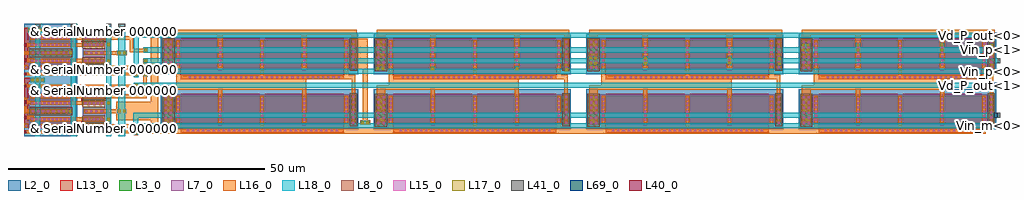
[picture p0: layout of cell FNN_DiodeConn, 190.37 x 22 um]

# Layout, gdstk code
from math import pi, radians
import gdstk
lib = gdstk.Library(unit=1e-6, precision=1e-09)
def R(c, l, rs):  # rectangles x0, y0, x1, y1
    for r in rs: c.add(gdstk.rectangle(r[:2], r[2:], *l))
def A(c, l, x, y, w, h, nx, ny, dx, dy):  # array of equal rectangles
    R(c, l, [(x+i*dx, y+j*dy, x+i*dx+w, y+j*dy+h) for i in range(nx) for j in range(ny)])
L2_0 = (2, 0)
L3_0 = (3, 0)
L7_0 = (7, 0)
L8_0 = (8, 0)
L13_0 = (13, 0)
L15_0 = (15, 0)
L16_0 = (16, 0)
L17_0 = (17, 0)
L18_0 = (18, 0)
L40_0 = (40, 0)
L41_0 = (41, 0)
L69_0 = (69, 0)

pch_cdns_760372828130 = lib.new_cell('pch_CDNS_760372828130')
R(pch_cdns_760372828130, L2_0, [(-2.05,-1.2,2.4,9.2)])
R(pch_cdns_760372828130, L3_0, [(-0.85,0,-0.15,8), (-0.85,0,-0.15,8), (-0.15,0,0.5,8), (0.5,0,1.2,8), (0.5,0,1.2,8)])
R(pch_cdns_760372828130, L7_0, [(-1.1,-0.25,1.45,8.25)])
R(pch_cdns_760372828130, L13_0, [(0,-0.4,0.35,8.4)])
A(pch_cdns_760372828130, L15_0, -0.7, 0.2, 0.4, 0.4, 1, 10, 0, 0.8)
A(pch_cdns_760372828130, L15_0, 0.65, 0.2, 0.4, 0.4, 1, 10, 0, 0.8)
R(pch_cdns_760372828130, L16_0, [(-0.85,0,-0.15,8), (0.5,0,1.2,8)])
pch_cdns_760372828130.add(gdstk.Label('D', (0.85,4), layer=59, texttype=0))
pch_cdns_760372828130.add(gdstk.Label('S', (-0.5,4), layer=59, texttype=0))
pch_cdns_760372828130.add(gdstk.Label('G', (0.175,4), layer=59, texttype=0))
pch_cdns_760372828130.add(gdstk.Label('& SerialNumber 000000', (0,0), layer=16, texttype=0))
pch_cdns_760372828130.add(gdstk.Label('& Distributor VIS', (0,0), layer=16, texttype=0))
pch_cdns_760372828130.add(gdstk.Label('& Metric 1', (0,0), layer=16, texttype=0))
pch_cdns_760372828130.add(gdstk.Label('& Version    \t  1.7A', (0,0), layer=16, texttype=0))
pch_cdns_760372828130.add(gdstk.Label('& PDKName     vis35cv', (0,0), layer=16, texttype=0))
pch_cdns_760372828130.add(gdstk.Label('& Vendor VIS Corp.', (0,0), layer=16, texttype=0))
pch_cdns_760372828130.add(gdstk.Label('& SerialNumber 000000', (0,0), layer=63, texttype=63))
pch_cdns_760372828130.add(gdstk.Label('& Distributor VIS', (0,0), layer=63, texttype=63))
pch_cdns_760372828130.add(gdstk.Label('& Metric 1', (0,0), layer=63, texttype=63))
pch_cdns_760372828130.add(gdstk.Label('& Version    \t  1.7A', (0,0), layer=63, texttype=63))
pch_cdns_760372828130.add(gdstk.Label('& PDKName     vis35cv', (0,0), layer=63, texttype=63))
pch_cdns_760372828130.add(gdstk.Label('& Vendor VIS Corp.', (0,0), layer=63, texttype=63))

nch_cdns_760372828131 = lib.new_cell('nch_CDNS_760372828131')
R(nch_cdns_760372828131, L3_0, [(-0.85,0,-0.15,4), (-0.85,0,-0.15,4), (-0.15,0,0.5,4), (0.5,0,1.2,4), (0.5,0,1.2,4)])
R(nch_cdns_760372828131, L8_0, [(-1.1,-0.25,1.45,4.25)])
R(nch_cdns_760372828131, L13_0, [(0,-0.4,0.35,4.4)])
A(nch_cdns_760372828131, L15_0, -0.7, 0.2, 0.4, 0.4, 1, 5, 0, 0.8)
A(nch_cdns_760372828131, L15_0, 0.65, 0.2, 0.4, 0.4, 1, 5, 0, 0.8)
R(nch_cdns_760372828131, L16_0, [(-0.85,0,-0.15,4), (0.5,0,1.2,4)])
nch_cdns_760372828131.add(gdstk.Label('D', (0.85,2), layer=59, texttype=0))
nch_cdns_760372828131.add(gdstk.Label('S', (-0.5,2), layer=59, texttype=0))
nch_cdns_760372828131.add(gdstk.Label('G', (0.175,2), layer=59, texttype=0))
nch_cdns_760372828131.add(gdstk.Label('& SerialNumber 000000', (0,0), layer=16, texttype=0))
nch_cdns_760372828131.add(gdstk.Label('& Distributor VIS', (0,0), layer=16, texttype=0))
nch_cdns_760372828131.add(gdstk.Label('& Metric 1', (0,0), layer=16, texttype=0))
nch_cdns_760372828131.add(gdstk.Label('& Version    \t  1.7A', (0,0), layer=16, texttype=0))
nch_cdns_760372828131.add(gdstk.Label('& PDKName     vis35cv', (0,0), layer=16, texttype=0))
nch_cdns_760372828131.add(gdstk.Label('& Vendor VIS Corp.', (0,0), layer=16, texttype=0))
nch_cdns_760372828131.add(gdstk.Label('& SerialNumber 000000', (0,0), layer=63, texttype=63))
nch_cdns_760372828131.add(gdstk.Label('& Distributor VIS', (0,0), layer=63, texttype=63))
nch_cdns_760372828131.add(gdstk.Label('& Metric 1', (0,0), layer=63, texttype=63))
nch_cdns_760372828131.add(gdstk.Label('& Version    \t  1.7A', (0,0), layer=63, texttype=63))
nch_cdns_760372828131.add(gdstk.Label('& PDKName     vis35cv', (0,0), layer=63, texttype=63))
nch_cdns_760372828131.add(gdstk.Label('& Vendor VIS Corp.', (0,0), layer=63, texttype=63))

pch_cdns_760372828132 = lib.new_cell('pch_CDNS_760372828132')
R(pch_cdns_760372828132, L2_0, [(-2.05,-1.2,33.85,6.6)])
A(pch_cdns_760372828132, L3_0, -0.85, 0, 0.7, 5.4, 5, 1, 8.2, 0)
A(pch_cdns_760372828132, L3_0, -0.15, 0, 7.5, 5.4, 4, 1, 8.2, 0)
R(pch_cdns_760372828132, L3_0, [(-0.85,0,-0.15,5.4), (31.95,0,32.65,5.4)])
R(pch_cdns_760372828132, L7_0, [(-1.1,-0.25,32.9,5.65)])
A(pch_cdns_760372828132, L13_0, 0, -0.4, 7.2, 6.2, 4, 1, 8.2, 0)
A(pch_cdns_760372828132, L15_0, -0.7, 0.5, 0.4, 0.4, 5, 6, 8.2, 0.8)
A(pch_cdns_760372828132, L16_0, -0.85, 0, 0.7, 5.4, 5, 1, 8.2, 0)
pch_cdns_760372828132.add(gdstk.Label('D', (24.1,2.7), layer=59, texttype=0))
pch_cdns_760372828132.add(gdstk.Label('D', (7.7,2.7), layer=59, texttype=0))
pch_cdns_760372828132.add(gdstk.Label('S', (15.9,2.7), layer=59, texttype=0))
pch_cdns_760372828132.add(gdstk.Label('S', (-0.5,2.7), layer=59, texttype=0))
pch_cdns_760372828132.add(gdstk.Label('S', (32.3,2.7), layer=59, texttype=0))
pch_cdns_760372828132.add(gdstk.Label('G', (28.2,2.7), layer=59, texttype=0))
pch_cdns_760372828132.add(gdstk.Label('G', (20,2.7), layer=59, texttype=0))
pch_cdns_760372828132.add(gdstk.Label('G', (11.8,2.7), layer=59, texttype=0))
pch_cdns_760372828132.add(gdstk.Label('G', (3.6,2.7), layer=59, texttype=0))
pch_cdns_760372828132.add(gdstk.Label('& SerialNumber 000000', (0,0), layer=16, texttype=0))
pch_cdns_760372828132.add(gdstk.Label('& Distributor VIS', (0,0), layer=16, texttype=0))
pch_cdns_760372828132.add(gdstk.Label('& Metric 1', (0,0), layer=16, texttype=0))
pch_cdns_760372828132.add(gdstk.Label('& Version    \t  1.7A', (0,0), layer=16, texttype=0))
pch_cdns_760372828132.add(gdstk.Label('& PDKName     vis35cv', (0,0), layer=16, texttype=0))
pch_cdns_760372828132.add(gdstk.Label('& Vendor VIS Corp.', (0,0), layer=16, texttype=0))
pch_cdns_760372828132.add(gdstk.Label('& SerialNumber 000000', (0,0), layer=63, texttype=63))
pch_cdns_760372828132.add(gdstk.Label('& Distributor VIS', (0,0), layer=63, texttype=63))
pch_cdns_760372828132.add(gdstk.Label('& Metric 1', (0,0), layer=63, texttype=63))
pch_cdns_760372828132.add(gdstk.Label('& Version    \t  1.7A', (0,0), layer=63, texttype=63))
pch_cdns_760372828132.add(gdstk.Label('& PDKName     vis35cv', (0,0), layer=63, texttype=63))
pch_cdns_760372828132.add(gdstk.Label('& Vendor VIS Corp.', (0,0), layer=63, texttype=63))

m2_m1_cdns_760372828130 = lib.new_cell('M2_M1_CDNS_760372828130')
R(m2_m1_cdns_760372828130, L16_0, [(-1.45,-0.45,1.45,0.45)])
A(m2_m1_cdns_760372828130, L17_0, -1.25, -0.25, 0.5, 0.5, 3, 1, 1, 0)
R(m2_m1_cdns_760372828130, L18_0, [(-1.4,-0.4,1.4,0.4)])

m2_m1_cdns_760372828131 = lib.new_cell('M2_M1_CDNS_760372828131')
R(m2_m1_cdns_760372828131, L16_0, [(-0.45,-0.45,0.45,0.45)])
R(m2_m1_cdns_760372828131, L17_0, [(-0.25,-0.25,0.25,0.25)])
R(m2_m1_cdns_760372828131, L18_0, [(-0.4,-0.4,0.4,0.4)])

m1_poly1_cdns_7603728281 = lib.new_cell('M1_POLY1_CDNS_760372828132')
R(m1_poly1_cdns_7603728281, L13_0, [(-0.4,-0.4,0.4,0.4)])
R(m1_poly1_cdns_7603728281, L15_0, [(-0.2,-0.2,0.2,0.2)])
R(m1_poly1_cdns_7603728281, L16_0, [(-0.45,-0.45,0.45,0.45)])

m2_m1_cdns_760372828133 = lib.new_cell('M2_M1_CDNS_760372828133')
R(m2_m1_cdns_760372828133, L16_0, [(-0.95,-0.45,0.95,0.45)])
R(m2_m1_cdns_760372828133, L17_0, [(-0.75,-0.25,-0.25,0.25), (0.25,-0.25,0.75,0.25)])
R(m2_m1_cdns_760372828133, L18_0, [(-0.9,-0.4,0.9,0.4)])

m2_m1_cdns_760372828134 = lib.new_cell('M2_M1_CDNS_760372828134')
R(m2_m1_cdns_760372828134, L16_0, [(-0.95,-0.95,0.95,0.95)])
R(m2_m1_cdns_760372828134, L17_0, [(-0.75,-0.75,-0.25,-0.25), (0.25,-0.75,0.75,-0.25), (-0.75,0.25,-0.25,0.75), (0.25,0.25,0.75,0.75)])
R(m2_m1_cdns_760372828134, L18_0, [(-0.9,-0.9,0.9,0.9)])

m2_m1_cdns_760372828135 = lib.new_cell('M2_M1_CDNS_760372828135')
R(m2_m1_cdns_760372828135, L16_0, [(-0.45,-0.95,0.45,0.95)])
R(m2_m1_cdns_760372828135, L17_0, [(-0.25,-0.75,0.25,-0.25), (-0.25,0.25,0.25,0.75)])
R(m2_m1_cdns_760372828135, L18_0, [(-0.4,-0.9,0.4,0.9)])

c_m1_poly1_cdns_7603728281 = lib.new_cell('M1_POLY1_CDNS_760372828136')
R(c_m1_poly1_cdns_7603728281, L13_0, [(-0.4,-0.4,0.4,0.4)])
R(c_m1_poly1_cdns_7603728281, L15_0, [(-0.2,-0.2,0.2,0.2)])
R(c_m1_poly1_cdns_7603728281, L16_0, [(-0.35,-0.35,0.35,0.35)])

c_m1_poly1_cdns_7603728281_ = lib.new_cell('M1_POLY1_CDNS_760372828137')
R(c_m1_poly1_cdns_7603728281_, L13_0, [(-14.9,-0.4,14.9,0.4)])
A(c_m1_poly1_cdns_7603728281_, L15_0, -14.7, -0.2, 0.4, 0.4, 30, 1, 1, 0)
R(c_m1_poly1_cdns_7603728281_, L16_0, [(-14.85,-0.35,14.85,0.35)])

m1_nactive_cdns_76037282 = lib.new_cell('M1_NACTIVE_CDNS_760372828138')
R(m1_nactive_cdns_76037282, L3_0, [(-3.95,-0.45,3.95,0.45)])
R(m1_nactive_cdns_76037282, L8_0, [(-4.2,-0.7,4.2,0.7)])
A(m1_nactive_cdns_76037282, L15_0, -3.7, -0.2, 0.4, 0.4, 8, 1, 1, 0)
R(m1_nactive_cdns_76037282, L16_0, [(-3.85,-0.35,3.85,0.35)])

m1_pactive_cdns_76037282 = lib.new_cell('M1_PACTIVE_CDNS_760372828139')
R(m1_pactive_cdns_76037282, L3_0, [(-1.95,-0.45,1.95,0.45)])
R(m1_pactive_cdns_76037282, L7_0, [(-2.2,-0.7,2.2,0.7)])
A(m1_pactive_cdns_76037282, L15_0, -1.7, -0.2, 0.4, 0.4, 4, 1, 1, 0)
R(m1_pactive_cdns_76037282, L16_0, [(-1.85,-0.35,1.85,0.35)])

c_m1_nactive_cdns_76037282 = lib.new_cell('M1_NACTIVE_CDNS_7603728281310')
R(c_m1_nactive_cdns_76037282, L3_0, [(-0.95,-2.95,0.95,2.95)])
R(c_m1_nactive_cdns_76037282, L8_0, [(-1.2,-3.2,1.2,3.2)])
A(c_m1_nactive_cdns_76037282, L15_0, -0.7, -2.7, 0.4, 0.4, 1, 6, 0, 1)
A(c_m1_nactive_cdns_76037282, L15_0, 0.3, -2.7, 0.4, 0.4, 1, 6, 0, 1)
R(c_m1_nactive_cdns_76037282, L16_0, [(-0.85,-2.85,0.85,2.85)])

c_m1_nactive_cdns_76037282_ = lib.new_cell('M1_NACTIVE_CDNS_7603728281311')
R(c_m1_nactive_cdns_76037282_, L3_0, [(-0.45,-2.95,0.45,2.95)])
R(c_m1_nactive_cdns_76037282_, L8_0, [(-0.7,-3.2,0.7,3.2)])
A(c_m1_nactive_cdns_76037282_, L15_0, -0.2, -2.7, 0.4, 0.4, 1, 6, 0, 1)
R(c_m1_nactive_cdns_76037282_, L16_0, [(-0.35,-2.85,0.35,2.85)])

fnn_diodeconn = lib.new_cell('FNN_DiodeConn')
A(fnn_diodeconn, L2_0, 26.71, 1.35, 1.8, 7.8, 3, 2, 41.47, 10.8)
A(fnn_diodeconn, L2_0, 64.41, 1.35, 0.77, 7.8, 3, 2, 41.47, 10.8)
R(fnn_diodeconn, L2_0, [(0,0,10.4,0.45), (151.13,1.35,152.93,9.15), (188.83,1.35,189.6,9.15), (0,4.9,10.4,4.93), (0,9.35,10.4,11.85), (151.13,12.15,152.93,19.95), (188.83,12.15,189.6,19.95), (0,20.75,10.4,22)])
R(fnn_diodeconn, L7_0, [(1.05,3.95,9.45,4.08), (11.42,4.07,15.82,4.2), (11.42,5.6,15.82,5.73), (1.05,5.72,9.45,5.88), (1.05,15.35,9.45,15.48), (11.42,15.47,15.82,15.6), (11.42,17,15.82,17.13), (1.05,17.12,9.45,17.25)])
R(fnn_diodeconn, L8_0, [(11.42,3.95,15.82,4.07), (1.05,4.08,9.45,4.2), (1.05,5.6,9.45,5.72), (11.42,5.73,15.82,5.88), (11.42,15.35,15.82,15.47), (1.05,15.48,9.45,15.6), (1.05,17,9.45,17.12), (11.42,17.13,15.82,17.25)])
A(fnn_diodeconn, L13_0, 30.56, 0.74, 31.8, 1.41, 3, 1, 41.47, 0)
A(fnn_diodeconn, L13_0, 30.56, 11.14, 31.8, 1.81, 3, 1, 41.47, 0)
R(fnn_diodeconn, L13_0, [(154.98,0.74,186.78,2.15), (0,2.5,0.8,2.85), (16,2.5,16.9,2.9), (0,2.84,0.8,7.91), (16.1,3.3,16.9,7.33), (16,6.93,16.9,7.33), (0,6.95,0.8,11.44), (0.8,10.64,1.24,11.44), (154.98,11.14,186.78,12.95), (0,13.9,0.8,14.25), (16,13.9,16.9,14.3), (0,14.24,0.8,18.7), (16.1,14.7,16.9,18.7), (16,18.3,16.9,18.7), (0,18.35,0.8,21.16), (0.8,20.36,1.65,21.16)])
A(fnn_diodeconn, L16_0, 27.31, 7.96, 1.7, 1.35, 3, 1, 41.47, 0)
A(fnn_diodeconn, L16_0, 63.91, 7.98, 0.7, 3.65, 3, 1, 41.47, 0)
A(fnn_diodeconn, L16_0, 29.66, 9.93, 25.4, 1.29, 3, 1, 41.47, 0)
A(fnn_diodeconn, L16_0, 63.26, 11.17, 1.35, 0.85, 3, 1, 41.47, 0)
A(fnn_diodeconn, L16_0, 27.31, 18.76, 1.7, 1.07, 3, 1, 41.47, 0)
R(fnn_diodeconn, L16_0, [(24.68,0.49,26.2,20.43), (26.2,0.49,187.63,1.78), (0,0.64,0.91,1.2), (73.01,0.74,104.68,1.64), (17.96,3.16,24.99,6.8), (0,4.55,1.4,5.25), (14.01,4.55,18.32,5.25), (0,4.75,0.65,5.88), (0,6.37,0.65,7.5), (151.73,7.96,153.43,9.31), (188.33,7.98,189.03,11.63), (0,9.59,0.65,10.3), (154.08,9.93,179.48,11.22), (187.68,11.17,189.03,12.02), (64.91,13.14,66.05,19.01), (0,15.95,1.4,16.65), (14.58,15.95,18.22,16.65), (151.73,18.76,153.43,19.83)])
R(fnn_diodeconn, L40_0, [(0,0.64,0.42,1.14), (0,3.3,0.42,4), (0,6.33,0.42,7.03), (0,9.59,0.42,10.09), (0,11.9,0.42,12.4), (0,14.5,0.42,15.2), (0,17.5,0.42,18.2)])
A(fnn_diodeconn, L41_0, 2.16, 21.33, 1, 0.67, 3, 1, 6.92, 0)
R(fnn_diodeconn, L41_0, [(189.93,1.57,190.37,2.57), (189.93,3.62,190.37,4.62), (189.93,9.51,190.37,10.51), (189.93,12.23,190.37,13.23), (189.93,14.23,190.37,15.23), (189.93,16.36,190.37,17.36), (189.95,19.21,190.37,20.21), (18.35,21.33,19.75,22)])
R(fnn_diodeconn, L69_0, [(189.15,3.62,189.88,4.62), (189.15,9.51,189.88,10.51), (189.15,19.21,189.88,20.21)])
fnn_diodeconn.add(gdstk.FlexPath([(188.83,20.33),(188.83,13.14)], 1, ends=(0.5, 0), simple_path=True, layer=16, datatype=0))  # L16_0
fnn_diodeconn.add(gdstk.FlexPath([(151.73,20.33),(188.83,20.33)], 1, ends=(0, 0.5), simple_path=True, layer=16, datatype=0))  # L16_0
fnn_diodeconn.add(gdstk.FlexPath([(187.28,13.35),(187.28,11.57)], 0.8, ends=(0, 0.4), simple_path=True, layer=16, datatype=0))  # L16_0
fnn_diodeconn.add(gdstk.FlexPath([(187.28,11.57),(186.14,11.57)], 0.8, ends=(0.4, 0), simple_path=True, layer=16, datatype=0))  # L16_0
fnn_diodeconn.add(gdstk.FlexPath([(187.28,3.51),(187.28,0.74)], 0.7, ends="flush", simple_path=True, layer=16, datatype=0))  # L16_0
fnn_diodeconn.add(gdstk.FlexPath([(179.08,13.35),(179.08,20.23)], 1, ends=(0, 0.5), simple_path=True, layer=16, datatype=0))  # L16_0
fnn_diodeconn.add(gdstk.FlexPath([(179.08,9.53),(179.08,7.95)], 0.8, ends=(0.4, 0), simple_path=True, layer=16, datatype=0))  # L16_0
fnn_diodeconn.add(gdstk.FlexPath([(179.08,9.53),(151.73,9.53)], 0.8, ends=(0.4, 0), simple_path=True, layer=16, datatype=0))  # L16_0
fnn_diodeconn.add(gdstk.FlexPath([(170.88,13.35),(170.88,11.57)], 0.7, ends="flush", simple_path=True, layer=16, datatype=0))  # L16_0
fnn_diodeconn.add(gdstk.FlexPath([(170.88,3.51),(170.88,0.74)], 0.7, ends="flush", simple_path=True, layer=16, datatype=0))  # L16_0
fnn_diodeconn.add(gdstk.FlexPath([(162.68,13.35),(162.68,20.23)], 1, ends=(0, 0.5), simple_path=True, layer=16, datatype=0))  # L16_0
fnn_diodeconn.add(gdstk.FlexPath([(162.68,7.95),(162.68,9.53)], 0.8, ends=(0, 0.4), simple_path=True, layer=16, datatype=0))  # L16_0
fnn_diodeconn.add(gdstk.FlexPath([(154.48,11.57),(156.44,11.57)], 0.8, ends=(0.4, 0), simple_path=True, layer=16, datatype=0))  # L16_0
fnn_diodeconn.add(gdstk.FlexPath([(154.48,13.35),(154.48,11.57)], 0.8, ends=(0, 0.4), simple_path=True, layer=16, datatype=0))  # L16_0
fnn_diodeconn.add(gdstk.FlexPath([(154.48,3.51),(154.48,0.74)], 0.7, ends="flush", simple_path=True, layer=16, datatype=0))  # L16_0
fnn_diodeconn.add(gdstk.FlexPath([(147.35,20.33),(147.35,13.14)], 1, ends=(0.5, 0), simple_path=True, layer=16, datatype=0))  # L16_0
fnn_diodeconn.add(gdstk.FlexPath([(110.25,20.33),(147.35,20.33)], 1, ends=(0, 0.5), simple_path=True, layer=16, datatype=0))  # L16_0
fnn_diodeconn.add(gdstk.FlexPath([(145.8,13.35),(145.8,11.57)], 0.8, ends=(0, 0.4), simple_path=True, layer=16, datatype=0))  # L16_0
fnn_diodeconn.add(gdstk.FlexPath([(145.8,11.57),(144.66,11.57)], 0.8, ends=(0.4, 0), simple_path=True, layer=16, datatype=0))  # L16_0
fnn_diodeconn.add(gdstk.FlexPath([(145.8,3.51),(145.8,0.74)], 0.7, ends="flush", simple_path=True, layer=16, datatype=0))  # L16_0
fnn_diodeconn.add(gdstk.FlexPath([(137.6,13.35),(137.6,20.23)], 1, ends=(0, 0.5), simple_path=True, layer=16, datatype=0))  # L16_0
fnn_diodeconn.add(gdstk.FlexPath([(137.6,9.53),(137.6,7.95)], 0.8, ends=(0.4, 0), simple_path=True, layer=16, datatype=0))  # L16_0
fnn_diodeconn.add(gdstk.FlexPath([(137.6,9.53),(110.25,9.53)], 0.8, ends=(0.4, 0), simple_path=True, layer=16, datatype=0))  # L16_0
fnn_diodeconn.add(gdstk.FlexPath([(129.4,13.35),(129.4,11.57)], 0.7, ends="flush", simple_path=True, layer=16, datatype=0))  # L16_0
fnn_diodeconn.add(gdstk.FlexPath([(129.4,3.51),(129.4,0.74)], 0.7, ends="flush", simple_path=True, layer=16, datatype=0))  # L16_0
fnn_diodeconn.add(gdstk.FlexPath([(121.2,13.35),(121.2,20.23)], 1, ends=(0, 0.5), simple_path=True, layer=16, datatype=0))  # L16_0
fnn_diodeconn.add(gdstk.FlexPath([(121.2,7.95),(121.2,9.53)], 0.8, ends=(0, 0.4), simple_path=True, layer=16, datatype=0))  # L16_0
fnn_diodeconn.add(gdstk.FlexPath([(113,11.57),(114.96,11.57)], 0.8, ends=(0.4, 0), simple_path=True, layer=16, datatype=0))  # L16_0
fnn_diodeconn.add(gdstk.FlexPath([(113,13.35),(113,11.57)], 0.8, ends=(0, 0.4), simple_path=True, layer=16, datatype=0))  # L16_0
fnn_diodeconn.add(gdstk.FlexPath([(113,3.51),(113,0.74)], 0.7, ends="flush", simple_path=True, layer=16, datatype=0))  # L16_0
fnn_diodeconn.add(gdstk.FlexPath([(105.88,20.33),(105.88,13.14)], 1, ends=(0.5, 0), simple_path=True, layer=16, datatype=0))  # L16_0
fnn_diodeconn.add(gdstk.FlexPath([(68.78,20.33),(105.88,20.33)], 1, ends=(0, 0.5), simple_path=True, layer=16, datatype=0))  # L16_0
fnn_diodeconn.add(gdstk.FlexPath([(104.33,13.35),(104.33,11.57)], 0.8, ends=(0, 0.4), simple_path=True, layer=16, datatype=0))  # L16_0
fnn_diodeconn.add(gdstk.FlexPath([(104.33,11.57),(103.19,11.57)], 0.8, ends=(0.4, 0), simple_path=True, layer=16, datatype=0))  # L16_0
fnn_diodeconn.add(gdstk.FlexPath([(104.33,3.51),(104.33,0.74)], 0.7, ends="flush", simple_path=True, layer=16, datatype=0))  # L16_0
fnn_diodeconn.add(gdstk.FlexPath([(96.13,13.35),(96.13,20.23)], 1, ends=(0, 0.5), simple_path=True, layer=16, datatype=0))  # L16_0
fnn_diodeconn.add(gdstk.FlexPath([(96.13,9.53),(96.13,7.95)], 0.8, ends=(0.4, 0), simple_path=True, layer=16, datatype=0))  # L16_0
fnn_diodeconn.add(gdstk.FlexPath([(96.13,9.53),(68.78,9.53)], 0.8, ends=(0.4, 0), simple_path=True, layer=16, datatype=0))  # L16_0
fnn_diodeconn.add(gdstk.FlexPath([(87.93,13.35),(87.93,11.57)], 0.7, ends="flush", simple_path=True, layer=16, datatype=0))  # L16_0
fnn_diodeconn.add(gdstk.FlexPath([(87.93,3.51),(87.93,0.74)], 0.7, ends="flush", simple_path=True, layer=16, datatype=0))  # L16_0
fnn_diodeconn.add(gdstk.FlexPath([(79.73,13.35),(79.73,20.23)], 1, ends=(0, 0.5), simple_path=True, layer=16, datatype=0))  # L16_0
fnn_diodeconn.add(gdstk.FlexPath([(79.73,7.95),(79.73,9.53)], 0.8, ends=(0, 0.4), simple_path=True, layer=16, datatype=0))  # L16_0
fnn_diodeconn.add(gdstk.FlexPath([(71.53,11.57),(73.49,11.57)], 0.8, ends=(0.4, 0), simple_path=True, layer=16, datatype=0))  # L16_0
fnn_diodeconn.add(gdstk.FlexPath([(71.53,13.35),(71.53,11.57)], 0.8, ends=(0, 0.4), simple_path=True, layer=16, datatype=0))  # L16_0
fnn_diodeconn.add(gdstk.FlexPath([(71.53,3.51),(71.53,0.74)], 0.7, ends="flush", simple_path=True, layer=16, datatype=0))  # L16_0
fnn_diodeconn.add(gdstk.FlexPath([(66.55,19.01),(66.55,2.68)], 1, ends="flush", simple_path=True, layer=16, datatype=0))  # L16_0
fnn_diodeconn.add(gdstk.FlexPath([(64.41,20.33),(64.41,13.14)], 1, ends=(0.5, 0), simple_path=True, layer=16, datatype=0))  # L16_0
fnn_diodeconn.add(gdstk.FlexPath([(27.31,20.33),(64.41,20.33)], 1, ends=(0, 0.5), simple_path=True, layer=16, datatype=0))  # L16_0
fnn_diodeconn.add(gdstk.FlexPath([(62.86,13.35),(62.86,11.57)], 0.8, ends=(0, 0.4), simple_path=True, layer=16, datatype=0))  # L16_0
fnn_diodeconn.add(gdstk.FlexPath([(62.86,11.57),(61.72,11.57)], 0.8, ends=(0.4, 0), simple_path=True, layer=16, datatype=0))  # L16_0
fnn_diodeconn.add(gdstk.FlexPath([(62.86,3.51),(62.86,0.74)], 0.7, ends="flush", simple_path=True, layer=16, datatype=0))  # L16_0
fnn_diodeconn.add(gdstk.FlexPath([(54.66,13.35),(54.66,20.23)], 1, ends=(0, 0.5), simple_path=True, layer=16, datatype=0))  # L16_0
fnn_diodeconn.add(gdstk.FlexPath([(54.66,9.53),(54.66,7.95)], 0.8, ends=(0.4, 0), simple_path=True, layer=16, datatype=0))  # L16_0
fnn_diodeconn.add(gdstk.FlexPath([(54.66,9.53),(27.31,9.53)], 0.8, ends=(0.4, 0), simple_path=True, layer=16, datatype=0))  # L16_0
fnn_diodeconn.add(gdstk.FlexPath([(46.46,13.35),(46.46,11.57)], 0.7, ends="flush", simple_path=True, layer=16, datatype=0))  # L16_0
fnn_diodeconn.add(gdstk.FlexPath([(46.46,3.51),(46.46,0.74)], 0.7, ends="flush", simple_path=True, layer=16, datatype=0))  # L16_0
fnn_diodeconn.add(gdstk.FlexPath([(38.26,13.35),(38.26,20.23)], 1, ends=(0, 0.5), simple_path=True, layer=16, datatype=0))  # L16_0
fnn_diodeconn.add(gdstk.FlexPath([(38.26,7.95),(38.26,9.53)], 0.8, ends=(0, 0.4), simple_path=True, layer=16, datatype=0))  # L16_0
fnn_diodeconn.add(gdstk.FlexPath([(30.06,11.57),(32.02,11.57)], 0.8, ends=(0.4, 0), simple_path=True, layer=16, datatype=0))  # L16_0
fnn_diodeconn.add(gdstk.FlexPath([(30.06,13.35),(30.06,11.57)], 0.8, ends=(0, 0.4), simple_path=True, layer=16, datatype=0))  # L16_0
fnn_diodeconn.add(gdstk.FlexPath([(30.06,3.51),(30.06,0.74)], 0.7, ends="flush", simple_path=True, layer=16, datatype=0))  # L16_0
fnn_diodeconn.add(gdstk.FlexPath([(23.6,7.83),(23.6,12.55)], 0.7, ends=(0.35, 0), simple_path=True, layer=16, datatype=0))  # L16_0
fnn_diodeconn.add(gdstk.FlexPath([(15.59,7.83),(23.6,7.83)], 0.7, ends=(0, 0.35), simple_path=True, layer=16, datatype=0))  # L16_0
fnn_diodeconn.add(gdstk.FlexPath([(23.58,13.4),(23.58,15.15)], 0.7, ends=(0.35, 0), simple_path=True, layer=16, datatype=0))  # L16_0
fnn_diodeconn.add(gdstk.FlexPath([(15.59,13.4),(23.58,13.4)], 0.7, ends=(0, 0.35), simple_path=True, layer=16, datatype=0))  # L16_0
fnn_diodeconn.add(gdstk.FlexPath([(15.59,2),(23.48,2)], 0.7, ends="flush", simple_path=True, layer=16, datatype=0))  # L16_0
fnn_diodeconn.add(gdstk.FlexPath([(0,0.89),(21.68,0.89)], 0.5, ends="flush", simple_path=True, layer=16, datatype=0))  # L16_0
fnn_diodeconn.add(gdstk.FlexPath([(0,12.15),(21.52,12.15)], 0.5, ends="flush", simple_path=True, layer=16, datatype=0))  # L16_0
fnn_diodeconn.add(gdstk.FlexPath([(0,9.84),(21.44,9.84)], 0.5, ends="flush", simple_path=True, layer=16, datatype=0))  # L16_0
fnn_diodeconn.add(gdstk.FlexPath([(20.99,16.76),(23.75,16.76)], 0.7, ends=(0.35, 0), simple_path=True, layer=16, datatype=0))  # L16_0
fnn_diodeconn.add(gdstk.FlexPath([(20.99,19.2),(20.99,16.76)], 0.7, ends="extended", simple_path=True, layer=16, datatype=0))  # L16_0
fnn_diodeconn.add(gdstk.FlexPath([(15.59,19.2),(20.99,19.2)], 0.7, ends=(0, 0.35), simple_path=True, layer=16, datatype=0))  # L16_0
fnn_diodeconn.add(gdstk.FlexPath([(11.6,2),(9.2,2)], 0.7, ends="flush", simple_path=True, layer=16, datatype=0))  # L16_0
fnn_diodeconn.add(gdstk.FlexPath([(11.6,3.35),(9.2,3.35)], 0.7, ends="flush", simple_path=True, layer=16, datatype=0))  # L16_0
fnn_diodeconn.add(gdstk.FlexPath([(11.6,6.48),(9.2,6.48)], 0.7, ends="flush", simple_path=True, layer=16, datatype=0))  # L16_0
fnn_diodeconn.add(gdstk.FlexPath([(11.6,7.83),(9.2,7.83)], 0.7, ends="flush", simple_path=True, layer=16, datatype=0))  # L16_0
fnn_diodeconn.add(gdstk.FlexPath([(11.6,13.4),(9.2,13.4)], 0.7, ends="flush", simple_path=True, layer=16, datatype=0))  # L16_0
fnn_diodeconn.add(gdstk.FlexPath([(11.6,14.75),(9.2,14.75)], 0.7, ends="flush", simple_path=True, layer=16, datatype=0))  # L16_0
fnn_diodeconn.add(gdstk.FlexPath([(11.6,17.85),(9.2,17.85)], 0.7, ends="flush", simple_path=True, layer=16, datatype=0))  # L16_0
fnn_diodeconn.add(gdstk.FlexPath([(11.6,19.2),(9.2,19.2)], 0.7, ends="flush", simple_path=True, layer=16, datatype=0))  # L16_0
fnn_diodeconn.add(gdstk.FlexPath([(1.89,3.65),(0,3.65)], 0.7, ends="flush", simple_path=True, layer=16, datatype=0))  # L16_0
fnn_diodeconn.add(gdstk.FlexPath([(1.84,14.85),(0,14.85)], 0.7, ends="flush", simple_path=True, layer=16, datatype=0))  # L16_0
fnn_diodeconn.add(gdstk.FlexPath([(1.21,6.63),(0,6.63)], 0.6, ends="flush", simple_path=True, layer=16, datatype=0))  # L16_0
fnn_diodeconn.add(gdstk.FlexPath([(1.2,17.85),(0,17.85)], 0.7, ends="flush", simple_path=True, layer=16, datatype=0))  # L16_0
fnn_diodeconn.add(gdstk.FlexPath([(190.37,14.73),(23.54,14.73)], 1, ends="flush", simple_path=True, layer=18, datatype=0))  # L18_0
fnn_diodeconn.add(gdstk.FlexPath([(190.37,16.86),(23.33,16.86)], 1, ends="flush", simple_path=True, layer=18, datatype=0))  # L18_0
fnn_diodeconn.add(gdstk.FlexPath([(190.37,12.73),(23.33,12.73)], 1, ends="flush", simple_path=True, layer=18, datatype=0))  # L18_0
fnn_diodeconn.add(gdstk.FlexPath([(190.37,2.07),(23.19,2.07)], 1, ends="flush", simple_path=True, layer=18, datatype=0))  # L18_0
fnn_diodeconn.add(gdstk.FlexPath([(190.37,10.01),(21.41,10.01)], 1, ends="flush", simple_path=True, layer=18, datatype=0))  # L18_0
fnn_diodeconn.add(gdstk.FlexPath([(190.16,14.73),(23.33,14.73)], 1, ends="flush", simple_path=True, layer=18, datatype=0))  # L18_0
fnn_diodeconn.add(gdstk.FlexPath([(190.37,19.71),(21.91,19.71)], 1, ends=(0, 0.5), simple_path=True, layer=18, datatype=0))  # L18_0
fnn_diodeconn.add(gdstk.FlexPath([(21.91,19.71),(21.91,11.55)], 1, ends=(0.5, 0), simple_path=True, layer=18, datatype=0))  # L18_0
fnn_diodeconn.add(gdstk.FlexPath([(190.37,4.12),(21.8,4.12)], 1, ends=(0, 0.5), simple_path=True, layer=18, datatype=0))  # L18_0
fnn_diodeconn.add(gdstk.FlexPath([(21.8,4.12),(21.8,0.3)], 1, ends=(0.5, 0), simple_path=True, layer=18, datatype=0))  # L18_0
fnn_diodeconn.add(gdstk.FlexPath([(19.05,0),(19.05,22)], 1.4, ends="flush", simple_path=True, layer=18, datatype=0))  # L18_0
fnn_diodeconn.add(gdstk.FlexPath([(16.5,0),(16.5,22)], 1, ends="flush", simple_path=True, layer=18, datatype=0))  # L18_0
fnn_diodeconn.add(gdstk.FlexPath([(9.58,0),(9.58,22)], 1, ends="flush", simple_path=True, layer=18, datatype=0))  # L18_0
fnn_diodeconn.add(gdstk.FlexPath([(2.66,0),(2.66,22)], 1, ends="flush", simple_path=True, layer=18, datatype=0))  # L18_0
fnn_diodeconn.add(gdstk.Reference(pch_cdns_760372828130, (1.2,7.33), rotation=3*pi/2))
fnn_diodeconn.add(gdstk.Reference(pch_cdns_760372828130, (1.2,2.85), rotation=3*pi/2))
fnn_diodeconn.add(gdstk.Reference(pch_cdns_760372828130, (1.2,14.25), rotation=3*pi/2))
fnn_diodeconn.add(gdstk.Reference(pch_cdns_760372828130, (1.2,18.7), rotation=3*pi/2))
fnn_diodeconn.add(gdstk.Reference(nch_cdns_760372828131, (11.6,2.85), rotation=3*pi/2))
fnn_diodeconn.add(gdstk.Reference(nch_cdns_760372828131, (11.6,7.33), rotation=3*pi/2))
fnn_diodeconn.add(gdstk.Reference(nch_cdns_760372828131, (11.6,14.25), rotation=3*pi/2))
fnn_diodeconn.add(gdstk.Reference(nch_cdns_760372828131, (11.6,18.7), rotation=3*pi/2))
r = gdstk.Reference(pch_cdns_760372828132, (154.98,13.35)); r.repetition = gdstk.Repetition(1, 1, v1=(4.45,0), v2=(0,4.4)); fnn_diodeconn.add(r)
r = gdstk.Reference(pch_cdns_760372828132, (154.98,2.55)); r.repetition = gdstk.Repetition(1, 1, v1=(4.45,0), v2=(0,4.4)); fnn_diodeconn.add(r)
r = gdstk.Reference(pch_cdns_760372828132, (113.5,13.35)); r.repetition = gdstk.Repetition(1, 1, v1=(4.45,0), v2=(0,4.4)); fnn_diodeconn.add(r)
r = gdstk.Reference(pch_cdns_760372828132, (113.5,2.55)); r.repetition = gdstk.Repetition(1, 1, v1=(4.45,0), v2=(0,4.4)); fnn_diodeconn.add(r)
r = gdstk.Reference(pch_cdns_760372828132, (72.03,13.35)); r.repetition = gdstk.Repetition(1, 1, v1=(4.45,0), v2=(0,4.4)); fnn_diodeconn.add(r)
r = gdstk.Reference(pch_cdns_760372828132, (72.03,2.55)); r.repetition = gdstk.Repetition(1, 1, v1=(4.45,0), v2=(0,4.4)); fnn_diodeconn.add(r)
r = gdstk.Reference(pch_cdns_760372828132, (30.56,13.35)); r.repetition = gdstk.Repetition(1, 1, v1=(4.45,0), v2=(0,4.4)); fnn_diodeconn.add(r)
r = gdstk.Reference(pch_cdns_760372828132, (30.56,2.55)); r.repetition = gdstk.Repetition(1, 1, v1=(4.45,0), v2=(0,4.4)); fnn_diodeconn.add(r)
fnn_diodeconn.add(gdstk.Reference(m2_m1_cdns_760372828130, (2.64,11)))
fnn_diodeconn.add(gdstk.Reference(m2_m1_cdns_760372828130, (2.19,20.75)))
fnn_diodeconn.add(gdstk.Reference(m2_m1_cdns_760372828131, (105.87,13.05)))
fnn_diodeconn.add(gdstk.Reference(m2_m1_cdns_760372828131, (96.15,13.25)))
fnn_diodeconn.add(gdstk.Reference(m2_m1_cdns_760372828131, (79.71,13.22)))
fnn_diodeconn.add(gdstk.Reference(m2_m1_cdns_760372828131, (23.73,16.84)))
fnn_diodeconn.add(gdstk.Reference(m2_m1_cdns_760372828131, (23.73,14.7)))
fnn_diodeconn.add(gdstk.Reference(m2_m1_cdns_760372828131, (23.73,12.1)))
fnn_diodeconn.add(gdstk.Reference(m2_m1_cdns_760372828131, (23.59,1.97)))
fnn_diodeconn.add(gdstk.Reference(m2_m1_cdns_760372828131, (21.81,11.95)))
fnn_diodeconn.add(gdstk.Reference(m2_m1_cdns_760372828131, (21.81,9.91)))
fnn_diodeconn.add(gdstk.Reference(m2_m1_cdns_760372828131, (21.81,0.7)))
fnn_diodeconn.add(gdstk.Reference(m2_m1_cdns_760372828131, (16.5,3.3)))
fnn_diodeconn.add(gdstk.Reference(m2_m1_cdns_760372828131, (16.5,17.9), x_reflection=True))
fnn_diodeconn.add(gdstk.Reference(m2_m1_cdns_760372828131, (16.5,6.53), x_reflection=True))
fnn_diodeconn.add(gdstk.Reference(m2_m1_cdns_760372828131, (16.5,14.7)))
fnn_diodeconn.add(gdstk.Reference(m2_m1_cdns_760372828131, (9.06,16.32)))
fnn_diodeconn.add(gdstk.Reference(m2_m1_cdns_760372828131, (9.01,4.9)))
fnn_diodeconn.add(gdstk.Reference(m1_poly1_cdns_7603728281, (16.5,3.3)))
fnn_diodeconn.add(gdstk.Reference(m1_poly1_cdns_7603728281, (16.5,17.9), x_reflection=True))
fnn_diodeconn.add(gdstk.Reference(m1_poly1_cdns_7603728281, (16.5,6.53), x_reflection=True))
fnn_diodeconn.add(gdstk.Reference(m1_poly1_cdns_7603728281, (16.5,14.7)))
fnn_diodeconn.add(gdstk.Reference(m2_m1_cdns_760372828133, (69.53,13.22)))
fnn_diodeconn.add(gdstk.Reference(m2_m1_cdns_760372828133, (66.55,2.68)))
fnn_diodeconn.add(gdstk.Reference(m2_m1_cdns_760372828133, (19.08,4.93), rotation=pi, x_reflection=True))
fnn_diodeconn.add(gdstk.Reference(m2_m1_cdns_760372828133, (19.08,16.28), rotation=pi, x_reflection=True))
fnn_diodeconn.add(gdstk.Reference(m2_m1_cdns_760372828134, (152.45,17.35)))
fnn_diodeconn.add(gdstk.Reference(m2_m1_cdns_760372828134, (111,14.76)))
fnn_diodeconn.add(gdstk.Reference(m2_m1_cdns_760372828135, (188.83,17.25)))
fnn_diodeconn.add(gdstk.Reference(m2_m1_cdns_760372828135, (179.08,17.38)))
fnn_diodeconn.add(gdstk.Reference(m2_m1_cdns_760372828135, (162.68,17.35)))
fnn_diodeconn.add(gdstk.Reference(m2_m1_cdns_760372828135, (147.37,14.66)))
fnn_diodeconn.add(gdstk.Reference(m2_m1_cdns_760372828135, (137.62,14.79)))
fnn_diodeconn.add(gdstk.Reference(m2_m1_cdns_760372828135, (121.22,14.76)))
fnn_diodeconn.add(gdstk.Reference(c_m1_poly1_cdns_7603728281, (2.05,20.76)))
fnn_diodeconn.add(gdstk.Reference(c_m1_poly1_cdns_7603728281, (1.54,11.04)))
fnn_diodeconn.add(gdstk.Reference(c_m1_poly1_cdns_7603728281, (0.4,2.1)))
fnn_diodeconn.add(gdstk.Reference(c_m1_poly1_cdns_7603728281, (0.4,13.5)))
fnn_diodeconn.add(gdstk.Reference(c_m1_poly1_cdns_7603728281_, (171.29,11.57)))
fnn_diodeconn.add(gdstk.Reference(c_m1_poly1_cdns_7603728281_, (170.91,1.19)))
fnn_diodeconn.add(gdstk.Reference(c_m1_poly1_cdns_7603728281_, (129.81,11.57)))
fnn_diodeconn.add(gdstk.Reference(c_m1_poly1_cdns_7603728281_, (129.43,1.19)))
fnn_diodeconn.add(gdstk.Reference(c_m1_poly1_cdns_7603728281_, (88.34,11.57)))
fnn_diodeconn.add(gdstk.Reference(c_m1_poly1_cdns_7603728281_, (87.96,1.19)))
fnn_diodeconn.add(gdstk.Reference(c_m1_poly1_cdns_7603728281_, (46.87,11.57)))
fnn_diodeconn.add(gdstk.Reference(c_m1_poly1_cdns_7603728281_, (46.49,1.19)))
fnn_diodeconn.add(gdstk.Reference(m1_nactive_cdns_76037282, (5.25,4.9)))
fnn_diodeconn.add(gdstk.Reference(m1_nactive_cdns_76037282, (5.25,16.3)))
fnn_diodeconn.add(gdstk.Reference(m1_pactive_cdns_76037282, (13.62,4.9)))
fnn_diodeconn.add(gdstk.Reference(m1_pactive_cdns_76037282, (13.62,16.3)))
fnn_diodeconn.add(gdstk.Reference(c_m1_nactive_cdns_76037282, (152.58,15.91)))
fnn_diodeconn.add(gdstk.Reference(c_m1_nactive_cdns_76037282, (152.58,5.11)))
fnn_diodeconn.add(gdstk.Reference(c_m1_nactive_cdns_76037282, (111.1,15.91)))
fnn_diodeconn.add(gdstk.Reference(c_m1_nactive_cdns_76037282, (111.1,5.11)))
fnn_diodeconn.add(gdstk.Reference(c_m1_nactive_cdns_76037282, (69.63,15.91)))
fnn_diodeconn.add(gdstk.Reference(c_m1_nactive_cdns_76037282, (69.63,5.11)))
fnn_diodeconn.add(gdstk.Reference(c_m1_nactive_cdns_76037282, (28.16,15.91)))
fnn_diodeconn.add(gdstk.Reference(c_m1_nactive_cdns_76037282, (28.16,5.11)))
fnn_diodeconn.add(gdstk.Reference(c_m1_nactive_cdns_76037282_, (188.68,5.19)))
fnn_diodeconn.add(gdstk.Reference(c_m1_nactive_cdns_76037282_, (188.68,15.99)))
fnn_diodeconn.add(gdstk.Reference(c_m1_nactive_cdns_76037282_, (147.2,5.19)))
fnn_diodeconn.add(gdstk.Reference(c_m1_nactive_cdns_76037282_, (147.2,15.99)))
fnn_diodeconn.add(gdstk.Reference(c_m1_nactive_cdns_76037282_, (105.73,5.19)))
fnn_diodeconn.add(gdstk.Reference(c_m1_nactive_cdns_76037282_, (105.73,15.99)))
fnn_diodeconn.add(gdstk.Reference(c_m1_nactive_cdns_76037282_, (64.26,5.19)))
fnn_diodeconn.add(gdstk.Reference(c_m1_nactive_cdns_76037282_, (64.26,15.99)))
fnn_diodeconn.add(gdstk.Label('& SerialNumber 000000', (15.66,1.6), layer=11, texttype=0))
fnn_diodeconn.add(gdstk.Label('& Distributor Vanguard', (15.66,1.6), layer=11, texttype=0))
fnn_diodeconn.add(gdstk.Label('& Metric 35.0', (15.66,1.6), layer=11, texttype=0))
fnn_diodeconn.add(gdstk.Label('& Version 400c', (15.66,1.6), layer=11, texttype=0))
fnn_diodeconn.add(gdstk.Label('& Product tcb773p', (15.66,1.6), layer=11, texttype=0))
fnn_diodeconn.add(gdstk.Label('& Vendor Taiwan Semiconductor Manufacturing Corp.', (15.66,1.6), layer=11, texttype=0))
fnn_diodeconn.add(gdstk.Label('& SerialNumber 000000', (15.66,9), layer=11, texttype=0))
fnn_diodeconn.add(gdstk.Label('& Distributor Vanguard', (15.66,9), layer=11, texttype=0))
fnn_diodeconn.add(gdstk.Label('& Metric 52.5', (15.66,9), layer=11, texttype=0))
fnn_diodeconn.add(gdstk.Label('& Version 400c', (15.66,9), layer=11, texttype=0))
fnn_diodeconn.add(gdstk.Label('& Product tcb773p', (15.66,9), layer=11, texttype=0))
fnn_diodeconn.add(gdstk.Label('& Vendor Taiwan Semiconductor Manufacturing Corp.', (15.66,9), layer=11, texttype=0))
fnn_diodeconn.add(gdstk.Label('& SerialNumber 000000', (15.66,20.4), layer=11, texttype=0))
fnn_diodeconn.add(gdstk.Label('& Distributor Vanguard', (15.66,20.4), layer=11, texttype=0))
fnn_diodeconn.add(gdstk.Label('& Metric 52.5', (15.66,20.4), layer=11, texttype=0))
fnn_diodeconn.add(gdstk.Label('& Version 400c', (15.66,20.4), layer=11, texttype=0))
fnn_diodeconn.add(gdstk.Label('& Product tcb773p', (15.66,20.4), layer=11, texttype=0))
fnn_diodeconn.add(gdstk.Label('& Vendor Taiwan Semiconductor Manufacturing Corp.', (15.66,20.4), layer=11, texttype=0))
fnn_diodeconn.add(gdstk.Label('& SerialNumber 000000', (15.66,13), layer=11, texttype=0))
fnn_diodeconn.add(gdstk.Label('& Distributor Vanguard', (15.66,13), layer=11, texttype=0))
fnn_diodeconn.add(gdstk.Label('& Metric 35.0', (15.66,13), layer=11, texttype=0))
fnn_diodeconn.add(gdstk.Label('& Version 400c', (15.66,13), layer=11, texttype=0))
fnn_diodeconn.add(gdstk.Label('& Product tcb773p', (15.66,13), layer=11, texttype=0))
fnn_diodeconn.add(gdstk.Label('& Vendor Taiwan Semiconductor Manufacturing Corp.', (15.66,13), layer=11, texttype=0))
fnn_diodeconn.add(gdstk.Label('Vd_P_in<2>', (0.26,0.98), layer=40, texttype=0))
fnn_diodeconn.add(gdstk.Label('Vd_P_in<1>', (0.26,9.93), layer=40, texttype=0))
fnn_diodeconn.add(gdstk.Label('Vd_P_in<0>', (0.26,12.24), layer=40, texttype=0))
fnn_diodeconn.add(gdstk.Label('Vd_R<3>', (0.26,3.75), layer=40, texttype=0))
fnn_diodeconn.add(gdstk.Label('Vd_R<2>', (0.26,6.78), layer=40, texttype=0))
fnn_diodeconn.add(gdstk.Label('Vd_R<1>', (0.26,14.95), layer=40, texttype=0))
fnn_diodeconn.add(gdstk.Label('Vd_R<0>', (0.26,17.95), layer=40, texttype=0))
fnn_diodeconn.add(gdstk.Label('Vd_P_out<0>', (190.18,19.71), layer=41, texttype=0))
fnn_diodeconn.add(gdstk.Label('Vin_m<0>', (190.14,2.06), layer=41, texttype=0))
fnn_diodeconn.add(gdstk.Label('Vd_P_out<2>', (190.14,4.16), layer=41, texttype=0))
fnn_diodeconn.add(gdstk.Label('Vd_P_out<1>', (190.14,10), layer=41, texttype=0))
fnn_diodeconn.add(gdstk.Label('Vin_p<0>', (190.14,12.74), layer=41, texttype=0))
fnn_diodeconn.add(gdstk.Label('Vin_m<1>', (190.14,14.73), layer=41, texttype=0))
fnn_diodeconn.add(gdstk.Label('Vin_p<1>', (190.14,16.88), layer=41, texttype=0))
fnn_diodeconn.add(gdstk.Label('GND', (19.11,21.68), layer=41, texttype=0))
fnn_diodeconn.add(gdstk.Label('RUN', (16.51,21.68), layer=41, texttype=0))
fnn_diodeconn.add(gdstk.Label('VINJ', (9.59,21.68), layer=41, texttype=0))
fnn_diodeconn.add(gdstk.Label('PROG', (2.67,21.68), layer=41, texttype=0))

lib.write_gds('FNN_DiodeConn.gds')
